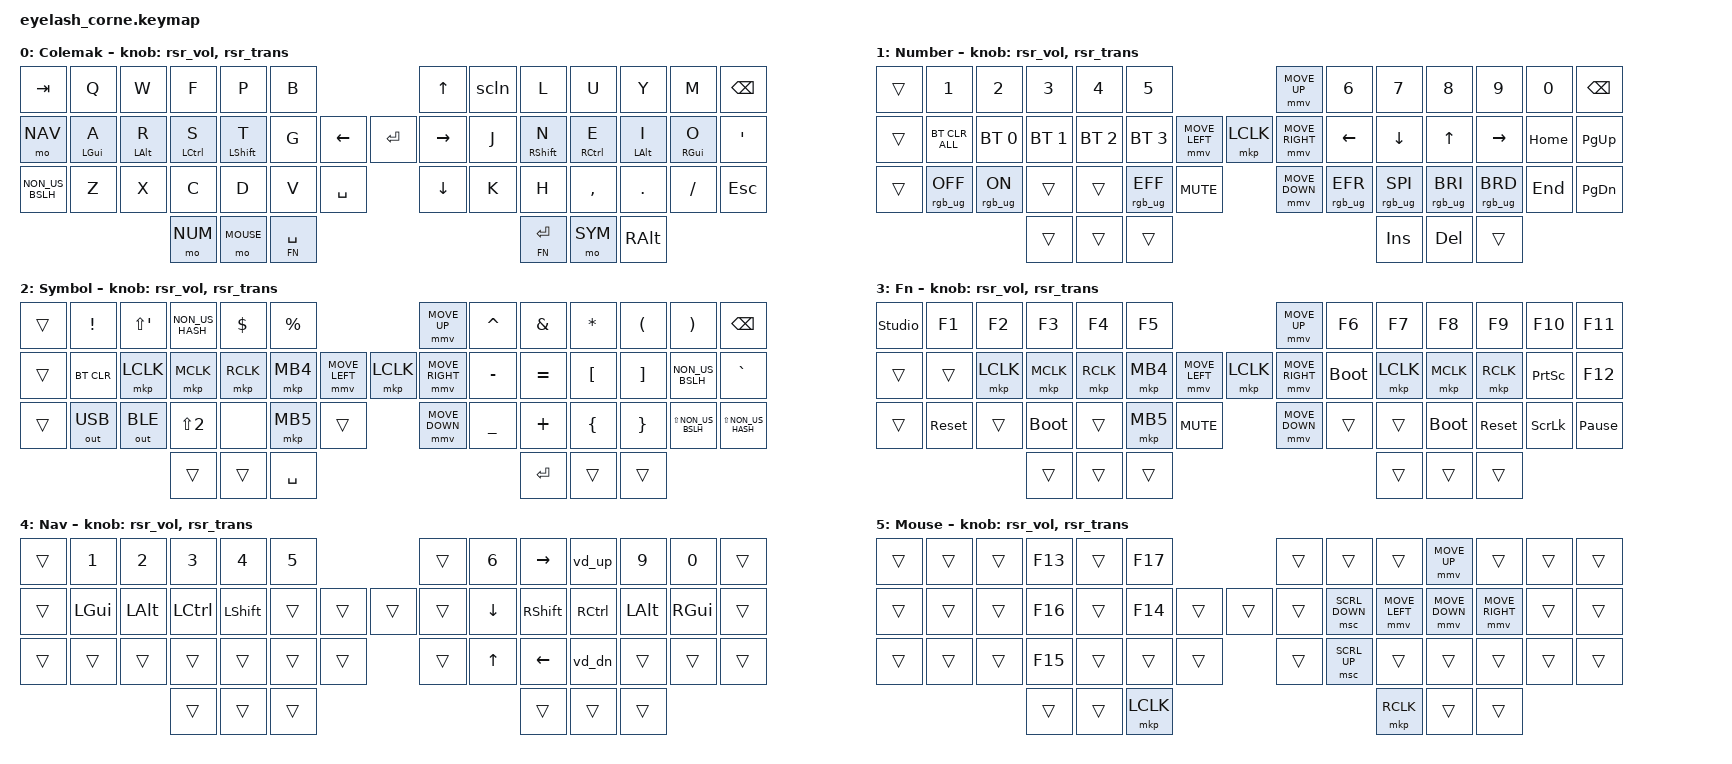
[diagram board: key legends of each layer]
// Eyelash Corne — port of C:\Users\sander\Tools\kanata.kbd
// Colemak-DH (your variant) + bilateral home row mods + nav layer + mouse layer.
// Windows layout stays "English (UK)"; the SYM layer uses UK-correct keycodes.
//
// Key positions (48):
//  0  1  2  3  4  5       6       7  8  9 10 11 12
// 13 14 15 16 17 18   19 20 21   22 23 24 25 26 27
// 28 29 30 31 32 33   34    35   36 37 38 39 40 41
//          42 43 44              45 46 47
// 6/19/20/21/35 = joystick, 34 = encoder press

#define ZMK_POINTING_DEFAULT_MOVE_VAL 1200
#define ZMK_POINTING_DEFAULT_SCRL_VAL 25

#include <input/processors.dtsi>
#include <zephyr/dt-bindings/input/input-event-codes.h>
#include <behaviors.dtsi>
#include <behaviors/runtime-sensor-rotate.dtsi>
#include <dt-bindings/zmk/bt.h>
#include <dt-bindings/zmk/keys.h>
#include <dt-bindings/zmk/outputs.h>
#include <dt-bindings/zmk/pointing.h>
#include <dt-bindings/zmk/rgb.h>

#define BASE  0
#define NUM   1
#define SYM   2
#define FN    3
#define NAV   4
#define MOUSE 5

#define KEYS_L 0 1 2 3 4 5 13 14 15 16 17 18 28 29 30 31 32 33
#define KEYS_R 7 8 9 10 11 12 22 23 24 25 26 27 36 37 38 39 40 41
#define THUMBS 42 43 44 45 46 47 6 19 20 21 34 35

&soft_off { hold-time-ms = <2000>; };

/ {
    behaviors {
        // Home row mods: hold only fires when a key on the OTHER hand (or a thumb) is pressed.
        // tapping-term = your kanata hold-time, quick-tap = tap-time.
        hml: hml {
            compatible = "zmk,behavior-hold-tap";
            #binding-cells = <2>;
            flavor = "balanced";
            tapping-term-ms = <240>;
            quick-tap-ms = <160>;
            require-prior-idle-ms = <150>;
            hold-trigger-key-positions = <KEYS_R THUMBS>;
            hold-trigger-on-release;
            bindings = <&kp>, <&kp>;
        };
        hmr: hmr {
            compatible = "zmk,behavior-hold-tap";
            #binding-cells = <2>;
            flavor = "balanced";
            tapping-term-ms = <240>;
            quick-tap-ms = <160>;
            require-prior-idle-ms = <150>;
            hold-trigger-key-positions = <KEYS_L THUMBS>;
            hold-trigger-on-release;
            bindings = <&kp>, <&kp>;
        };
        // Shift variants (t / n) use the shorter 200 ms hold time.
        hmls: hmls {
            compatible = "zmk,behavior-hold-tap";
            #binding-cells = <2>;
            flavor = "balanced";
            tapping-term-ms = <200>;
            quick-tap-ms = <160>;
            require-prior-idle-ms = <150>;
            hold-trigger-key-positions = <KEYS_R THUMBS>;
            hold-trigger-on-release;
            bindings = <&kp>, <&kp>;
        };
        hmrs: hmrs {
            compatible = "zmk,behavior-hold-tap";
            #binding-cells = <2>;
            flavor = "balanced";
            tapping-term-ms = <200>;
            quick-tap-ms = <160>;
            require-prior-idle-ms = <150>;
            hold-trigger-key-positions = <KEYS_L THUMBS>;
            hold-trigger-on-release;
            bindings = <&kp>, <&kp>;
        };

        // ':' normally, ';' with Alt (Alt kept, for Neru) ...
        colon_alt: colon_alt {
            compatible = "zmk,behavior-mod-morph";
            #binding-cells = <0>;
            bindings = <&kp COLON>, <&kp SEMI>;
            mods = <(MOD_LALT|MOD_RALT)>;
            keep-mods = <(MOD_LALT|MOD_RALT)>;
        };
        // ... and plain ';' with Shift (Shift is removed).
        scln: scln {
            compatible = "zmk,behavior-mod-morph";
            #binding-cells = <0>;
            bindings = <&colon_alt>, <&kp SEMI>;
            mods = <(MOD_LSFT|MOD_RSFT)>;
        };

        // PgUp/PgDn, or Ctrl+Left/Right while Super is held (Win+Ctrl+arrow = switch desktop).
        vd_up: vd_up {
            compatible = "zmk,behavior-mod-morph";
            #binding-cells = <0>;
            bindings = <&kp PG_UP>, <&kp LC(LEFT)>;
            mods = <(MOD_LGUI|MOD_RGUI)>;
            keep-mods = <(MOD_LGUI|MOD_RGUI)>;
        };
        vd_dn: vd_dn {
            compatible = "zmk,behavior-mod-morph";
            #binding-cells = <0>;
            bindings = <&kp PG_DN>, <&kp LC(RIGHT)>;
            mods = <(MOD_LGUI|MOD_RGUI)>;
            keep-mods = <(MOD_LGUI|MOD_RGUI)>;
        };

        rsr_vol: rsr_vol {
            compatible = "zmk,behavior-runtime-sensor-rotate";
            #sensor-binding-cells = <0>;
            tap-ms = <5>;
            cw-binding = <&kp C_VOL_UP>;
            ccw-binding = <&kp C_VOL_DN>;
        };
        rsr_trans: rsr_trans {
            compatible = "zmk,behavior-runtime-sensor-rotate";
            #sensor-binding-cells = <0>;
            tap-ms = <0>;
        };
    };

    combos {
        compatible = "zmk,combos";
        softoff {
            bindings = <&soft_off>;
            key-positions = <1 15 29>;
        };
    };

    keymap {
        compatible = "zmk,keymap";

        base_layer {
            display-name = "Colemak";
            bindings = <
&kp TAB          &kp Q            &kp W            &kp F              &kp P              &kp B                                &kp UP              &scln     &kp L              &kp U              &kp Y            &kp M            &kp BSPC
&mo NAV          &hml LGUI A      &hml LALT R      &hml LCTRL S       &hmls LSHFT T      &kp G               &kp LEFT  &kp ENTER  &kp RIGHT    &kp J     &hmrs RSHFT N      &hmr RCTRL E       &hmr LALT I      &hmr RGUI O      &kp SQT
&kp NON_US_BSLH  &kp Z            &kp X            &kp C              &kp D              &kp V        &kp SPACE              &kp DOWN              &kp K     &kp H              &kp COMMA          &kp DOT          &kp FSLH         &kp ESC
                                                   &mo NUM            &mo MOUSE          &lt FN SPACE                                              &lt FN ENTER       &mo SYM            &kp RALT
            >;
            sensor-bindings = <&rsr_vol &rsr_trans>;
        };

        num_layer {
            display-name = "Number";
            bindings = <
&trans  &kp N1           &kp N2          &kp N3        &kp N4        &kp N5                                         &mmv MOVE_UP                     &kp N6           &kp N7           &kp N8           &kp N9           &kp N0    &kp BSPC
&trans  &bt BT_CLR_ALL   &bt BT_SEL 0    &bt BT_SEL 1  &bt BT_SEL 2  &bt BT_SEL 3                   &mmv MOVE_LEFT  &mkp LCLK       &mmv MOVE_RIGHT  &kp LEFT         &kp DOWN         &kp UP           &kp RIGHT        &kp HOME  &kp PG_UP
&trans  &rgb_ug RGB_OFF  &rgb_ug RGB_ON  &trans        &trans        &rgb_ug RGB_EFF  &kp C_MUTE                    &mmv MOVE_DOWN                   &rgb_ug RGB_EFR  &rgb_ug RGB_SPI  &rgb_ug RGB_BRI  &rgb_ug RGB_BRD  &kp END   &kp PG_DN
                                         &trans        &trans        &trans                                                                          &kp INS          &kp DEL          &trans
            >;
            sensor-bindings = <&rsr_vol &rsr_trans>;
        };

        // UK layout: @ = Shift+', # and ~ = the ISO hash key, \ and | = the ISO key left of Z
        sym_layer {
            display-name = "Symbol";
            bindings = <
&trans  &kp EXCL      &kp LS(SQT)   &kp NON_US_HASH  &kp DLLR   &kp PRCNT                            &mmv MOVE_UP                     &kp CARET  &kp AMPS   &kp ASTRK  &kp LPAR  &kp RPAR             &kp BSPC
&trans  &bt BT_CLR    &mkp LCLK     &mkp MCLK        &mkp RCLK  &mkp MB4             &mmv MOVE_LEFT  &mkp LCLK       &mmv MOVE_RIGHT  &kp MINUS  &kp EQUAL  &kp LBKT   &kp RBKT  &kp NON_US_BSLH      &kp GRAVE
&trans  &out OUT_USB  &out OUT_BLE  &kp LS(N2)       &none      &mkp MB5   &trans                    &mmv MOVE_DOWN                   &kp UNDER  &kp PLUS   &kp LBRC   &kp RBRC  &kp LS(NON_US_BSLH)  &kp LS(NON_US_HASH)
                                    &trans           &trans     &kp SPACE                                                             &kp RET    &trans     &trans
            >;
            sensor-bindings = <&rsr_vol &rsr_trans>;
        };

        fn_layer {
            display-name = "Fn";
            bindings = <
&studio_unlock  &kp F1      &kp F2     &kp F3       &kp F4     &kp F5                                  &mmv MOVE_UP                     &kp F6       &kp F7     &kp F8       &kp F9      &kp F10          &kp F11
&trans          &trans      &mkp LCLK  &mkp MCLK    &mkp RCLK  &mkp MB4                &mmv MOVE_LEFT  &mkp LCLK       &mmv MOVE_RIGHT  &bootloader  &mkp LCLK  &mkp MCLK    &mkp RCLK   &kp PRINTSCREEN  &kp F12
&trans          &sys_reset  &trans     &bootloader  &trans     &mkp MB5  &kp C_MUTE                    &mmv MOVE_DOWN                   &trans       &trans     &bootloader  &sys_reset  &kp SCROLLLOCK   &kp PAUSE_BREAK
                                       &trans       &trans     &trans                                                                   &trans       &trans     &trans
            >;
            sensor-bindings = <&rsr_vol &rsr_trans>;
        };

        // Hold the caps-lock position (left of A). Same key spots as your kanata nav layer.
        nav_layer {
            display-name = "Nav";
            bindings = <
&trans  &kp N1    &kp N2    &kp N3     &kp N4     &kp N5                     &trans              &kp N6    &kp RIGHT  &vd_up     &kp N9    &kp N0    &trans
&trans  &kp LGUI  &kp LALT  &kp LCTRL  &kp LSHFT  &trans            &trans   &trans   &trans     &kp DOWN  &kp RSHFT  &kp RCTRL  &kp LALT  &kp RGUI  &trans
&trans  &trans    &trans    &trans     &trans     &trans     &trans          &trans              &kp UP    &kp LEFT   &vd_dn     &trans    &trans    &trans
                            &trans     &trans     &trans                                         &trans    &trans     &trans
            >;
            sensor-bindings = <&rsr_vol &rsr_trans>;
        };

        // Hold left thumb (middle). Neru triggers on Colemak f g c s b, mouse on u n e i, scroll on j / k.
        mouse_layer {
            display-name = "Mouse";
            bindings = <
&trans  &trans  &trans   &kp F13  &trans  &kp F17                    &trans              &trans           &trans          &mmv MOVE_UP    &trans           &trans  &trans
&trans  &trans  &trans   &kp F16  &trans  &kp F14           &trans   &trans   &trans     &msc SCRL_DOWN   &mmv MOVE_LEFT  &mmv MOVE_DOWN  &mmv MOVE_RIGHT  &trans  &trans
&trans  &trans  &trans   &kp F15  &trans  &trans     &trans          &trans              &msc SCRL_UP     &trans          &trans          &trans           &trans  &trans
                         &trans   &trans  &mkp LCLK                                      &mkp RCLK        &trans          &trans
            >;
            sensor-bindings = <&rsr_vol &rsr_trans>;
        };
    };
};
